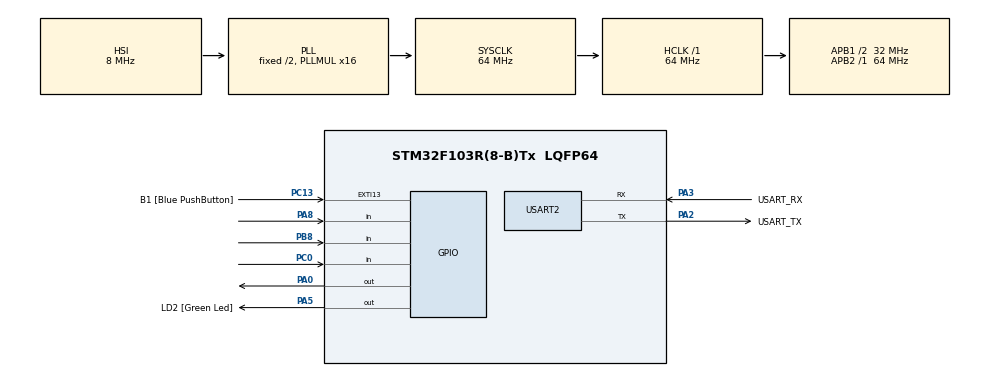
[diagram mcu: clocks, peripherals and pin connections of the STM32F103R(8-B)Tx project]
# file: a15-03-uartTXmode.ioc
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Mcu.Family=STM32F1
Mcu.Name=STM32F103R(8-B)Tx
Mcu.Package=LQFP64
NVIC.EXTI15_10_IRQn=true\:0\:0\:false\:false\:true\:true\:true
NVIC.PriorityGroup=NVIC_PRIORITYGROUP_4
NVIC.TIM2_IRQn=true\:0\:0\:false\:false\:true\:true\:true
PA0-WKUP.Signal=GPIO_Output
PA13.GPIO_Label=TMS
PA13.Mode=Serial_Wire
PA13.Signal=SYS_JTMS-SWDIO
PA14.GPIO_Label=TCK
PA14.Mode=Serial_Wire
PA14.Signal=SYS_JTCK-SWCLK
PA2.GPIO_Label=USART_TX
PA2.GPIO_Mode=GPIO_MODE_AF_PP
PA2.GPIO_PuPd=GPIO_NOPULL
PA2.GPIO_Speed=GPIO_SPEED_FREQ_LOW
PA2.Mode=Asynchronous
PA2.Signal=USART2_TX
PA3.GPIO_Label=USART_RX
PA3.GPIO_Mode=GPIO_MODE_AF_PP
PA3.GPIO_PuPd=GPIO_NOPULL
PA3.GPIO_Speed=GPIO_SPEED_FREQ_LOW
PA3.Mode=Asynchronous
PA3.Signal=USART2_RX
PA5.GPIO_Label=LD2 [Green Led]
PA5.GPIO_ModeDefaultOutputPP=GPIO_MODE_OUTPUT_PP
PA5.GPIO_PuPd=GPIO_NOPULL
PA5.GPIO_Speed=GPIO_SPEED_FREQ_LOW
PA5.Signal=GPIO_Output
PA8.Signal=GPIO_Input
PB3.GPIO_Label=SWO
PB3.Signal=SYS_JTDO-TRACESWO
PB8.Signal=GPIO_Input
PC0.Signal=GPIO_Input
PC13-TAMPER-RTC.GPIO_Label=B1 [Blue PushButton]
PC13-TAMPER-RTC.GPIO_PuPd=GPIO_NOPULL
PC13-TAMPER-RTC.Signal=GPXTI13
PC14-OSC32_IN.Mode=LSE-External-Oscillator
PC14-OSC32_IN.Signal=RCC_OSC32_IN
PC15-OSC32_OUT.Mode=LSE-External-Oscillator
PC15-OSC32_OUT.Signal=RCC_OSC32_OUT
PD0-OSC_IN.Mode=HSE-External-Clock-Source
PD0-OSC_IN.Signal=RCC_OSC_IN
PD1-OSC_OUT.Mode=HSE-External-Clock-Source
PD1-OSC_OUT.Signal=RCC_OSC_OUT
ProjectManager.HeapSize=0x200
ProjectManager.StackSize=0x400
ProjectManager.TargetToolchain=STM32CubeIDE
RCC.AHBFreq_Value=64000000
RCC.APB1CLKDivider=RCC_HCLK_DIV2
RCC.APB1Freq_Value=32000000
RCC.APB1TimFreq_Value=64000000
RCC.APB2Freq_Value=64000000
RCC.APB2TimFreq_Value=64000000
RCC.HCLKFreq_Value=64000000
RCC.PLLMUL=RCC_PLL_MUL16
RCC.RTCClockSelection=RCC_RTCCLKSOURCE_LSE
RCC.SYSCLKFreq_VALUE=64000000
RCC.SYSCLKSource=RCC_SYSCLKSOURCE_PLLCLK
RCC.USBFreq_Value=64000000
TIM2.Period=104-1
TIM2.Prescaler=64-1
USART2.VirtualMode=VM_ASYNC
VP_TIM2_VS_ClockSourceINT.Mode=Internal
board=NUCLEO-F103RB

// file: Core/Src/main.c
/* USER CODE BEGIN Header */
/**
  ******************************************************************************
  * @file           : main.c
  * @brief          : Main program body
  ******************************************************************************
  * @attention
  *
  * <h2><center>&copy; Copyright (c) 2022 STMicroelectronics.
  * All rights reserved.</center></h2>
  *
  * This software component is licensed by ST under BSD 3-Clause license,
  * the "License"; You may not use this file except in compliance with the
  * License. You may obtain a copy of the License at:
  *                        opensource.org/licenses/BSD-3-Clause
  *
  ******************************************************************************
  */
/* USER CODE END Header */

#include "main.h"

/* USER CODE BEGIN Includes */
#include "stdio.h"
/* USER CODE END Includes */

/* USER CODE BEGIN PD */

#ifdef __GNUC__
  /* With GCC/RAISONANCE, small printf (option LD Linker->Libraries->Small printf
     set to 'Yes') calls __io_putchar() */
  #define PUTCHAR_PROTOTYPE int __io_putchar(int ch)
#else
  #define PUTCHAR_PROTOTYPE int fputc(int ch, FILE *f)
#endif /* __GNUC__ */

/* USER CODE END PD */

TIM_HandleTypeDef htim2;

UART_HandleTypeDef huart2;

/* USER CODE BEGIN PV */

/*🎈🎉🎉🎊🧨✨ 과제 코드*/
char Uart_Tx_Parity_Mode;
int tim2_cnt;
char tim2_flag;
char tim2_trigger;
char chUartTxData[32];

/* USER CODE END PV */

void SystemClock_Config(void);
static void MX_GPIO_Init(void);
static void MX_USART2_UART_Init(void);
static void MX_TIM2_Init(void);

/* USER CODE BEGIN 0 */
PUTCHAR_PROTOTYPE
{
  /* Place your implementation of fputc here */
  /* e.g. write a character to the EVAL_COM1 and Loop until the end of transmission */
  HAL_UART_Transmit(&huart2, (uint8_t *)&ch, 1, 0xFFFF);

  return ch;
}

void HAL_TIM_PeriodElapsedCallback(TIM_HandleTypeDef *htim)
{
	if(htim->Instance == htim2.Instance){
		//HAL_GPIO_TogglePin(GPIOA, GPIO_PIN_0);
		if('y' == tim2_flag){
			tim2_cnt += 1;
			tim2_trigger = 'y';
		}
	}
}

void Uart_Tx_Byte(char TxData, char Parity)
{
	char chExit = 'n';
	char chComp = 0x01;
	int ParityBit_cnt = 0;

	tim2_cnt = 0;
	tim2_flag = 'y';
	tim2_trigger = 'n';

	while(1){
		if(('y' == tim2_trigger) && (tim2_cnt == 1)){ // idle
			tim2_trigger = 'n';
			HAL_GPIO_WritePin(GPIOA, GPIO_PIN_0, GPIO_PIN_SET);
		}else if(('y' == tim2_trigger) && (tim2_cnt == 2)){ // start
			tim2_trigger = 'n';
			HAL_GPIO_WritePin(GPIOA, GPIO_PIN_0, GPIO_PIN_RESET);
		}else if(('y' == tim2_trigger) && (tim2_cnt == 3)){ // bit 0
			tim2_trigger = 'n';
			if((TxData & chComp) == chComp){
				HAL_GPIO_WritePin(GPIOA, GPIO_PIN_0, GPIO_PIN_SET);
				ParityBit_cnt += 1;
			}else{
				HAL_GPIO_WritePin(GPIOA, GPIO_PIN_0, GPIO_PIN_RESET);
			}
			chComp <<= 1;
		}else if(('y' == tim2_trigger) && (tim2_cnt == 4)){ // bit 1
			tim2_trigger = 'n';
			if((TxData & chComp) == chComp){
				HAL_GPIO_WritePin(GPIOA, GPIO_PIN_0, GPIO_PIN_SET);
				ParityBit_cnt += 1;
			}else{
				HAL_GPIO_WritePin(GPIOA, GPIO_PIN_0, GPIO_PIN_RESET);
			}
			chComp <<= 1;
		}else if(('y' == tim2_trigger) && (tim2_cnt == 5)){ // bit 2
			tim2_trigger = 'n';
			if((TxData & chComp) == chComp){
				HAL_GPIO_WritePin(GPIOA, GPIO_PIN_0, GPIO_PIN_SET);
				ParityBit_cnt += 1;
			}else{
				HAL_GPIO_WritePin(GPIOA, GPIO_PIN_0, GPIO_PIN_RESET);
			}
			chComp <<= 1;
		}else if(('y' == tim2_trigger) && (tim2_cnt == 6)){ // bit 3
			tim2_trigger = 'n';
			if((TxData & chComp) == chComp){
				HAL_GPIO_WritePin(GPIOA, GPIO_PIN_0, GPIO_PIN_SET);
				ParityBit_cnt += 1;
			}else{
				HAL_GPIO_WritePin(GPIOA, GPIO_PIN_0, GPIO_PIN_RESET);
			}
			chComp <<= 1;
		}else if(('y' == tim2_trigger) && (tim2_cnt == 7)){ // bit 4
			tim2_trigger = 'n';
			if((TxData & chComp) == chComp){
				HAL_GPIO_WritePin(GPIOA, GPIO_PIN_0, GPIO_PIN_SET);
				ParityBit_cnt += 1;
			}else{
				HAL_GPIO_WritePin(GPIOA, GPIO_PIN_0, GPIO_PIN_RESET);
			}
			chComp <<= 1;
		}else if(('y' == tim2_trigger) && (tim2_cnt == 8)){ // bit 5
			tim2_trigger = 'n';
			if((TxData & chComp) == chComp){
				HAL_GPIO_WritePin(GPIOA, GPIO_PIN_0, GPIO_PIN_SET);
				ParityBit_cnt += 1;
			}else{
				HAL_GPIO_WritePin(GPIOA, GPIO_PIN_0, GPIO_PIN_RESET);
			}
			chComp <<= 1;
		}else if(('y' == tim2_trigger) && (tim2_cnt == 9)){ // bit 6
			tim2_trigger = 'n';
			if((TxData & chComp) == chComp){
				HAL_GPIO_WritePin(GPIOA, GPIO_PIN_0, GPIO_PIN_SET);
				ParityBit_cnt += 1;
			}else{
				HAL_GPIO_WritePin(GPIOA, GPIO_PIN_0, GPIO_PIN_RESET);
			}
			chComp <<= 1;
		}else if(('y' == tim2_trigger) && (tim2_cnt == 10)){ // bit 7
			tim2_trigger = 'n';
			if((TxData & chComp) == chComp){
				HAL_GPIO_WritePin(GPIOA, GPIO_PIN_0, GPIO_PIN_SET);
				ParityBit_cnt += 1;
			}else{
				HAL_GPIO_WritePin(GPIOA, GPIO_PIN_0, GPIO_PIN_RESET);
			}
			chComp <<= 1;
		}
		else if(('y' == tim2_trigger) && (tim2_cnt == 11)){ // [parity : none/even/odd] or [stop]
			tim2_trigger = 'n';

			if(Parity == 'n'){
				HAL_GPIO_WritePin(GPIOA, GPIO_PIN_0, GPIO_PIN_SET);
				chExit = 'y';
			}else if(Parity == 'e'){
				if((ParityBit_cnt % 2) == 0){
					HAL_GPIO_WritePin(GPIOA, GPIO_PIN_0, GPIO_PIN_RESET);
				}else{
					HAL_GPIO_WritePin(GPIOA, GPIO_PIN_0, GPIO_PIN_SET);
				}

			}else if(Parity == 'o'){
				if((ParityBit_cnt % 2) == 1){
					HAL_GPIO_WritePin(GPIOA, GPIO_PIN_0, GPIO_PIN_RESET);
				}else{
					HAL_GPIO_WritePin(GPIOA, GPIO_PIN_0, GPIO_PIN_SET);
				}
			}

			//----- 이 부분부터 수정 및 추가 필요 ------------------------------------------
			//----- parity bit & stop bit 전송부분 추가 -------------------------------------

		}else if(('y' == tim2_trigger) && (tim2_cnt == 12)){ // stop

			//----- 이 부분부터 수정 및 추가 필요 ------------------------------------------
			//----- parity bit & stop bit 전송부분 추가 -------------------------------------

			HAL_GPIO_WritePin(GPIOA, GPIO_PIN_0, GPIO_PIN_SET);
			chExit = 'y';

		}
		if(('y' == tim2_trigger) && ('y' == chExit)){
			tim2_trigger = 'n';
			tim2_flag = 'n';
			break;
		}
	}
}//end of tx byte

int Uart_Tx_multiByte(int Tx_cnt, char* TxData, char Parity)
{
	int m;

	for(m = 0; m < Tx_cnt; m++){
		Uart_Tx_Byte(TxData[m], Parity);
	}

	return(0);
}//end of tx multi byte

/* USER CODE END 0 */

int main(void)
{
  /* USER CODE BEGIN 1 */
	HAL_StatusTypeDef tim2_it_start;
	GPIO_PinState pc13pin;
	GPIO_PinState pa8pin, pb8pin;
  /* USER CODE END 1 */

  /* MCU Configuration--------------------------------------------------------*/

  /* Reset of all peripherals, Initializes the Flash interface and the Systick. */
  HAL_Init();

  /* Configure the system clock */
  SystemClock_Config();

  /* Initialize all configured peripherals */
  MX_GPIO_Init();
  MX_USART2_UART_Init();
  MX_TIM2_Init();
  /* USER CODE BEGIN 2 */

  printf("---uart tx mode\r\n---");

  Uart_Tx_Parity_Mode = 'n'; // 'n':none, 'e':even, 'o':odd
  tim2_cnt = 0;
  tim2_flag = 'n';
  tim2_trigger = 'n';

  HAL_GPIO_WritePin(GPIOA, GPIO_PIN_0, GPIO_PIN_SET); //tx idle시 high이기 때문

  tim2_it_start = HAL_TIM_Base_Start_IT(&htim2);
  if(HAL_OK == tim2_it_start){
	  printf("HAL_TIM_Base_Start_IT OK\r\n");
  }else{
	  printf("HAL_TIM_Base_Start_IT error\r\n");
  }

  chUartTxData[0] = 'a';

  /* USER CODE END 2 */

  /* Infinite loop */
  while (1)
  {

	  //send one byte
	  pc13pin = HAL_GPIO_ReadPin(GPIOC, GPIO_PIN_13);
	  if(GPIO_PIN_RESET == pc13pin){

		  //pa8pin과 pb8pin에 패리티 모드 정보를 기록
		  pa8pin = HAL_GPIO_ReadPin(GPIOA, GPIO_PIN_8);
		  pb8pin = HAL_GPIO_ReadPin(GPIOB, GPIO_PIN_8);
		  printf("HELLO WORLD!");

		  if((GPIO_PIN_SET == pa8pin) && (GPIO_PIN_RESET == pb8pin)){
			  //짝수 패리티
			  Uart_Tx_Parity_Mode = 'e';
		  }else if((GPIO_PIN_RESET == pa8pin) && (GPIO_PIN_SET == pb8pin)){
			  //홀수 패리티
			  Uart_Tx_Parity_Mode = 'o';
		  }else{
			  Uart_Tx_Parity_Mode = 'n';
		  }
		  Uart_Tx_Byte(chUartTxData[0], Uart_Tx_Parity_Mode);
		  printf("Uart_Tx_Byte=%c[0x%02x]---parity=%c---\r\n",chUartTxData[0],chUartTxData[0],Uart_Tx_Parity_Mode);
		  if('z' == chUartTxData[0]){
			  chUartTxData[0] = 'a';
		  }else{
			  chUartTxData[0] += 1;
		  }
	  }

	  HAL_Delay(200);
	  HAL_GPIO_TogglePin(GPIOA, GPIO_PIN_5);

  }

}

void SystemClock_Config(void)
{
  RCC_OscInitTypeDef RCC_OscInitStruct = {0};
  RCC_ClkInitTypeDef RCC_ClkInitStruct = {0};

  /** Initializes the CPU, AHB and APB busses clocks
  */
  RCC_OscInitStruct.OscillatorType = RCC_OSCILLATORTYPE_HSI;
  RCC_OscInitStruct.HSIState = RCC_HSI_ON;
  RCC_OscInitStruct.HSICalibrationValue = RCC_HSICALIBRATION_DEFAULT;
  RCC_OscInitStruct.PLL.PLLState = RCC_PLL_ON;
  RCC_OscInitStruct.PLL.PLLSource = RCC_PLLSOURCE_HSI_DIV2;
  RCC_OscInitStruct.PLL.PLLMUL = RCC_PLL_MUL16;
  if (HAL_RCC_OscConfig(&RCC_OscInitStruct) != HAL_OK)
  {
    Error_Handler();
  }
  /** Initializes the CPU, AHB and APB busses clocks
  */
  RCC_ClkInitStruct.ClockType = RCC_CLOCKTYPE_HCLK|RCC_CLOCKTYPE_SYSCLK
                              |RCC_CLOCKTYPE_PCLK1|RCC_CLOCKTYPE_PCLK2;
  RCC_ClkInitStruct.SYSCLKSource = RCC_SYSCLKSOURCE_PLLCLK;
  RCC_ClkInitStruct.AHBCLKDivider = RCC_SYSCLK_DIV1;
  RCC_ClkInitStruct.APB1CLKDivider = RCC_HCLK_DIV2;
  RCC_ClkInitStruct.APB2CLKDivider = RCC_HCLK_DIV1;

  if (HAL_RCC_ClockConfig(&RCC_ClkInitStruct, FLASH_LATENCY_2) != HAL_OK)
  {
    Error_Handler();
  }
}

static void MX_TIM2_Init(void)
{

  TIM_ClockConfigTypeDef sClockSourceConfig = {0};
  TIM_MasterConfigTypeDef sMasterConfig = {0};

  htim2.Instance = TIM2;
  htim2.Init.Prescaler = 64-1;
  htim2.Init.CounterMode = TIM_COUNTERMODE_UP;
  htim2.Init.Period = 104-1;
  htim2.Init.ClockDivision = TIM_CLOCKDIVISION_DIV1;
  htim2.Init.AutoReloadPreload = TIM_AUTORELOAD_PRELOAD_DISABLE;
  if (HAL_TIM_Base_Init(&htim2) != HAL_OK)
  {
    Error_Handler();
  }
  sClockSourceConfig.ClockSource = TIM_CLOCKSOURCE_INTERNAL;
  if (HAL_TIM_ConfigClockSource(&htim2, &sClockSourceConfig) != HAL_OK)
  {
    Error_Handler();
  }
  sMasterConfig.MasterOutputTrigger = TIM_TRGO_RESET;
  sMasterConfig.MasterSlaveMode = TIM_MASTERSLAVEMODE_DISABLE;
  if (HAL_TIMEx_MasterConfigSynchronization(&htim2, &sMasterConfig) != HAL_OK)
  {
    Error_Handler();
  }

}

static void MX_USART2_UART_Init(void)
{

  huart2.Instance = USART2;
  huart2.Init.BaudRate = 115200;
  huart2.Init.WordLength = UART_WORDLENGTH_8B;
  huart2.Init.StopBits = UART_STOPBITS_1;
  huart2.Init.Parity = UART_PARITY_NONE;
  huart2.Init.Mode = UART_MODE_TX_RX;
  huart2.Init.HwFlowCtl = UART_HWCONTROL_NONE;
  huart2.Init.OverSampling = UART_OVERSAMPLING_16;
  if (HAL_UART_Init(&huart2) != HAL_OK)
  {
    Error_Handler();
  }

}

static void MX_GPIO_Init(void)
{
  GPIO_InitTypeDef GPIO_InitStruct = {0};

  /* GPIO Ports Clock Enable */
  __HAL_RCC_GPIOC_CLK_ENABLE();
  __HAL_RCC_GPIOD_CLK_ENABLE();
  __HAL_RCC_GPIOA_CLK_ENABLE();
  __HAL_RCC_GPIOB_CLK_ENABLE();

  /*Configure GPIO pin Output Level */
  HAL_GPIO_WritePin(GPIOA, GPIO_PIN_0|LD2_Pin, GPIO_PIN_RESET);

  /*Configure GPIO pin : B1_Pin */
  GPIO_InitStruct.Pin = B1_Pin;
  GPIO_InitStruct.Mode = GPIO_MODE_IT_RISING;
  GPIO_InitStruct.Pull = GPIO_NOPULL;
  HAL_GPIO_Init(B1_GPIO_Port, &GPIO_InitStruct);

  /*Configure GPIO pin : PC0 */
  GPIO_InitStruct.Pin = GPIO_PIN_0;
  GPIO_InitStruct.Mode = GPIO_MODE_INPUT;
  GPIO_InitStruct.Pull = GPIO_NOPULL;
  HAL_GPIO_Init(GPIOC, &GPIO_InitStruct);

  /*Configure GPIO pins : PA0 LD2_Pin */
  GPIO_InitStruct.Pin = GPIO_PIN_0|LD2_Pin;
  GPIO_InitStruct.Mode = GPIO_MODE_OUTPUT_PP;
  GPIO_InitStruct.Pull = GPIO_NOPULL;
  GPIO_InitStruct.Speed = GPIO_SPEED_FREQ_LOW;
  HAL_GPIO_Init(GPIOA, &GPIO_InitStruct);

  /*Configure GPIO pin : PA8 */
  GPIO_InitStruct.Pin = GPIO_PIN_8;
  GPIO_InitStruct.Mode = GPIO_MODE_INPUT;
  GPIO_InitStruct.Pull = GPIO_NOPULL;
  HAL_GPIO_Init(GPIOA, &GPIO_InitStruct);

  /*Configure GPIO pin : PB8 */
  GPIO_InitStruct.Pin = GPIO_PIN_8;
  GPIO_InitStruct.Mode = GPIO_MODE_INPUT;
  GPIO_InitStruct.Pull = GPIO_NOPULL;
  HAL_GPIO_Init(GPIOB, &GPIO_InitStruct);

  /* EXTI interrupt init*/
  HAL_NVIC_SetPriority(EXTI15_10_IRQn, 0, 0);
  HAL_NVIC_EnableIRQ(EXTI15_10_IRQn);

}

void Error_Handler(void)
{
}

/************************ (C) COPYRIGHT STMicroelectronics *****END OF FILE****/
